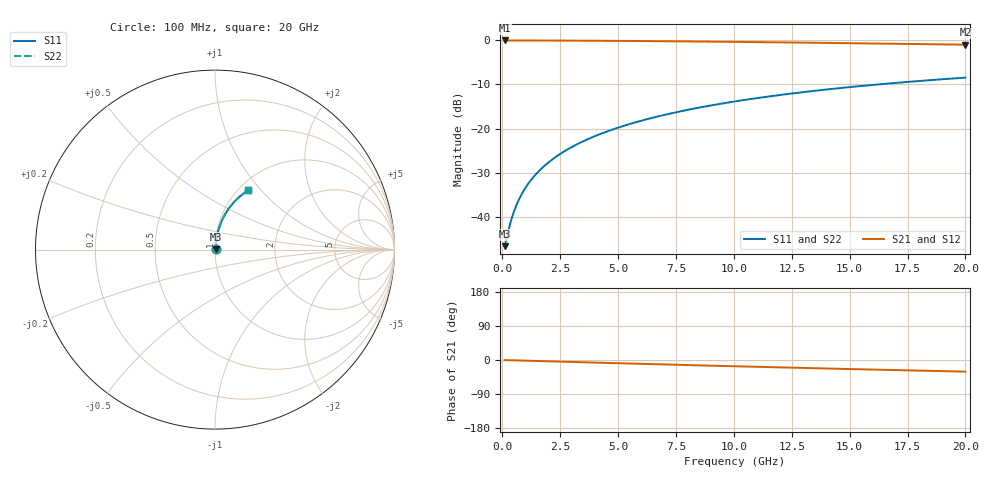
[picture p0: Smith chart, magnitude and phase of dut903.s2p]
! Touchstone file exported from HFSS 2024.1.0
!  File:  C:/UserFiles/LocalFiles/RDL_TSV_Batchsim/temp_RDL_top_903_1779935548.aedt
!  Generated:  10:36:11 AM May 28, 2026
!  Design:  RDL_top
!  Project:  temp_RDL_top_903_1779935548
!  Setup:  Setup1
!  Solution:  Sweep
! Variables:
!  dtsv = 10.80580581um
!  hbump = 3um
!  htsv = 53.18um
!  ldown = 100um
!  lrdl = 375.49um
!  p = 40
!  p1 = 42.21um
!  rhole = 1um
!  t = 450um
!  tdown = 3.915915916um
!  trdl = 3.11um
!  wdown = 15.38538539um
!  wrdl = 10.58um
# GHz S MA R 50.000000
! Terminal data exported
! Port[1] = Box2_T1
! Port[2] = Box2_T2
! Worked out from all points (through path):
!   200 points, 100 MHz to 20 GHz, reference 50 ohm
!   highest |S21| = -0.04 dB at 100 MHz (marker M1); lowest = -1.0 dB at 20 GHz (marker M2)
!   group delay of S21, straight-line fit = 4.27 ps
!   lowest |S11| = -46.7 dB at 100 MHz (marker M3), VSWR 1.01, Z = 50.4 + j0.214 ohm
!   |S11| at or under -10 dB: start of sweep to 16.23 GHz
!   |S22| runs from -46.7 to -8.5 dB; largest |S21 - S12| = 2.3e-15
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0.1  0.004648 27.1  0.9959 -0.2  0.9959 -0.2  0.004648 27.1
! Gamma 0 0 0 0
! Port Impedance 50 0 50 0
0.3  0.007627 56.1  0.9958 -0.5  0.9958 -0.5  0.007627 56.1
0.4  0.00947 62.7  0.9957 -0.7  0.9957 -0.7  0.00947 62.7
0.5  0.01139 67.1  0.9956 -0.9  0.9956 -0.9  0.01139 67.1
0.6  0.01334 70.1  0.9955 -1.1  0.9955 -1.1  0.01334 70.1
0.7  0.01532 72.3  0.9954 -1.2  0.9954 -1.2  0.01532 72.3
0.9  0.01929 75.3  0.9951 -1.6  0.9951 -1.6  0.01929 75.3
1.2  0.0253 77.9  0.9948 -2.1  0.9948 -2.1  0.0253 77.9
1.4  0.02931 79.0  0.9945 -2.4  0.9945 -2.4  0.02931 79.0
1.7  0.03536 80.0  0.9941 -2.9  0.9941 -2.9  0.03536 80.0
2.2  0.04548 81.0  0.9932 -3.8  0.9932 -3.8  0.04548 81.0
2.8  0.05766 81.4  0.992 -4.8  0.992 -4.8  0.05766 81.4
3.5  0.07189 81.3  0.9902 -6.0  0.9902 -6.0  0.07189 81.3
4.2  0.08613 80.9  0.988 -7.2  0.988 -7.2  0.08613 80.9
5  0.1024 80.3  0.9852 -8.5  0.9852 -8.5  0.1024 80.3
5.9  0.1206 79.4  0.9816 -10.0  0.9816 -10.0  0.1206 79.4
6.8  0.1388 78.4  0.9775 -11.5  0.9775 -11.5  0.1388 78.4
8.3  0.1687 76.5  0.97 -13.8  0.97 -13.8  0.1687 76.5
10.1  0.204 74.1  0.9598 -16.6  0.9598 -16.6  0.204 74.1
13.4  0.2661 69.6  0.9388 -21.6  0.9388 -21.6  0.2661 69.6
16.7  0.3242 65.1  0.9157 -26.3  0.9157 -26.3  0.3242 65.1
20  0.3775 60.8  0.8913 -30.7  0.8913 -30.7  0.3775 60.8
